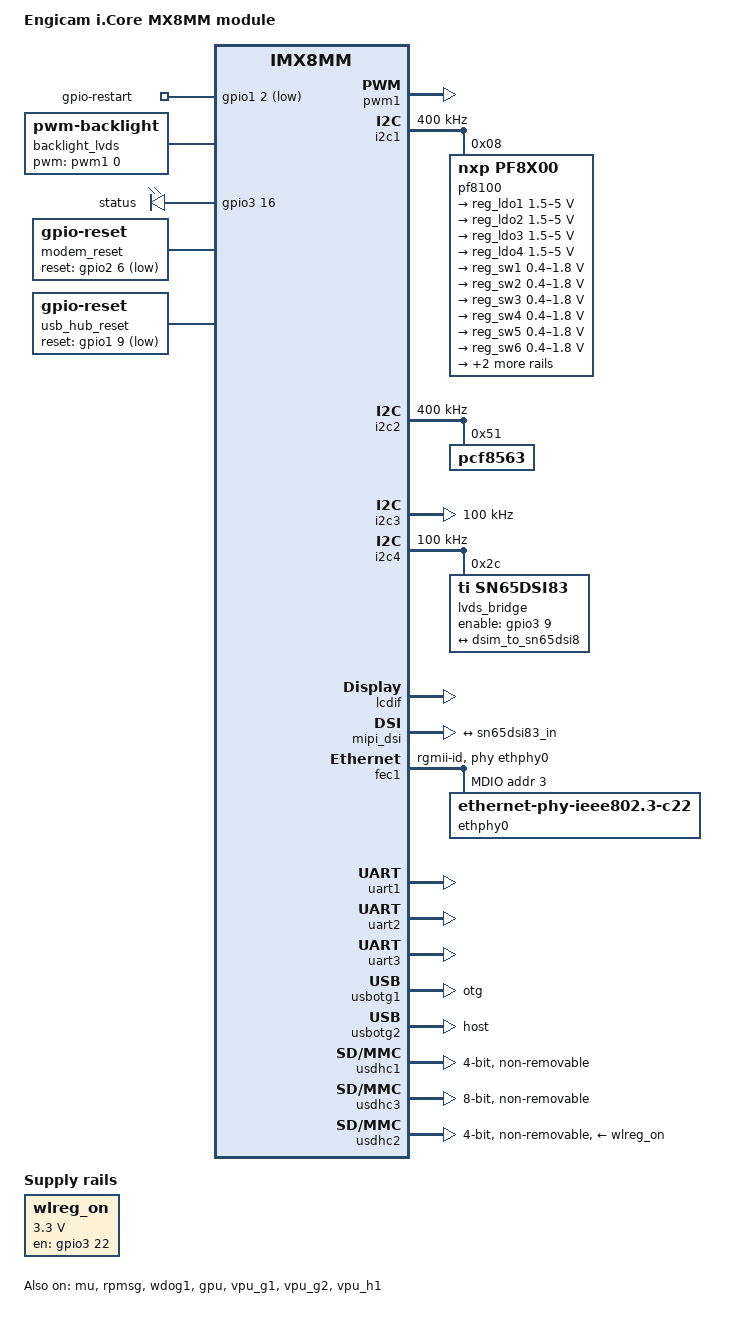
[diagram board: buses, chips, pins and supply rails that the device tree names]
/*
 * Copyright 2019 Engicam srl
 * Copyright 2018 NXP
 *
 * This program is free software; you can redistribute it and/or
 * modify it under the terms of the GNU General Public License
 * as published by the Free Software Foundation; either version 2
 * of the License, or (at your option) any later version.
 *
 * This program is distributed in the hope that it will be useful,
 * but WITHOUT ANY WARRANTY; without even the implied warranty of
 * MERCHANTABILITY or FITNESS FOR A PARTICULAR PURPOSE.  See the
 * GNU General Public License for more details.
 */

/dts-v1/;

#include "../freescale/fsl-imx8mm.dtsi"
#include "icore-imx8mm-sgtl5000.dtsi"

/ {
	model = "Engicam i.Core MX8MM module";
	compatible = "engi,icore-imx8mm", "fsl,imx8mm-evk", "fsl,imx8mm";

	chosen {
		bootargs = "console=ttymxc1,115200 earlycon=ec_imx6q,0x30890000,115200";
		stdout-path = &uart2;
	};
	
	gpio-restart {
        compatible = "gpio-restart";
        gpios = <&gpio1 2 1>;
        priority = <128>;
        active-delay = <100>;
        inactive-delay = <100>;
        wait-delay = <3000>;
    };
	
    backlight_lvds: backlight_lvds {
            compatible = "pwm-backlight";
            pinctrl-names = "default";
            pinctrl-0 = <&pinctrl_pwm1>;
            pwms = <&pwm1 0 1000000>;
            brightness-levels = <0 4 8 16 32 64 128 255>;
            default-brightness-level = <7>;
            status = "okay";
    };

	leds {
		compatible = "gpio-leds";
		pinctrl-names = "default";
		pinctrl-0 = <&pinctrl_gpio_led>;

		status {
			label = "status";
			gpios = <&gpio3 16 0>;
			default-state = "on";
		};
	};

	modem_reset: modem-reset {
		compatible = "gpio-reset";
		reset-gpios = <&gpio2 6 GPIO_ACTIVE_LOW>;
		reset-delay-us = <2000>;
		reset-post-delay-ms = <40>;
		#reset-cells = <0>;
	};

	usb_hub_reset: usb-hub-reset {
		compatible = "gpio-reset";
		reset-gpios = <&gpio1 9 GPIO_ACTIVE_LOW>;
		reset-delay-us = <2000>;
		reset-post-delay-ms = <40>;
		#reset-cells = <0>;
	};

};

&pwm1{
    status = "okay";
};

&clk {
	assigned-clocks = <&clk IMX8MM_AUDIO_PLL1>, <&clk IMX8MM_AUDIO_PLL2>;
	assigned-clock-rates = <786432000>, <722534400>;
};

&iomuxc {
	pinctrl-names = "default";

	icore-imx8mm {
        pinctrl_dsi_lvds_bridge: lvds_bridge_gpio {
            fsl,pins = <
                MX8MM_IOMUXC_NAND_DATA03_GPIO3_IO9	0x19
				MX8MM_IOMUXC_NAND_DATA02_GPIO3_IO8	0x19
            >;
        };

        pinctrl_pwm1: pwm1grp {
            fsl,pins = <
                 MX8MM_IOMUXC_SPDIF_EXT_CLK_PWM1_OUT     0x19
            >;
        };

		pinctrl_reset_hub: pinctrl_reset_hub_grp {
			fsl,pins = <
				MX8MM_IOMUXC_GPIO1_IO09_GPIO1_IO9		0x19
			>;
		};

		pinctrl_csi_pwn: csi_pwn_grp {
			fsl,pins = <
				MX8MM_IOMUXC_SAI2_RXC_GPIO4_IO22		0x19
			>;
		};

		pinctrl_csi_rst: csi_rst_grp {
			fsl,pins = <
				MX8MM_IOMUXC_GPIO1_IO12_GPIO1_IO12		0x19
			>;
		};

		pinctrl_mipi_dsi_en: mipi_dsi_en {
			fsl,pins = <
				MX8MM_IOMUXC_GPIO1_IO08_GPIO1_IO8		0x16
			>;
		};

		pinctrl_i2c2_synaptics_dsx_io: synaptics_dsx_iogrp {
			fsl,pins = <
				MX8MM_IOMUXC_GPIO1_IO09_GPIO1_IO9		0x19	/* Touch int */
			>;
		};

		pinctrl_fec1: fec1grp {
			fsl,pins = <
				MX8MM_IOMUXC_ENET_MDC_ENET1_MDC		0x3
				MX8MM_IOMUXC_ENET_MDIO_ENET1_MDIO	0x3
				MX8MM_IOMUXC_ENET_TD3_ENET1_RGMII_TD3	0x1f
				MX8MM_IOMUXC_ENET_TD2_ENET1_RGMII_TD2	0x1f
				MX8MM_IOMUXC_ENET_TD1_ENET1_RGMII_TD1	0x1f
				MX8MM_IOMUXC_ENET_TD0_ENET1_RGMII_TD0	0x1f
				MX8MM_IOMUXC_ENET_RD3_ENET1_RGMII_RD3	0x91
				MX8MM_IOMUXC_ENET_RD2_ENET1_RGMII_RD2	0x91
				MX8MM_IOMUXC_ENET_RD1_ENET1_RGMII_RD1	0x91
				MX8MM_IOMUXC_ENET_RD0_ENET1_RGMII_RD0	0x91
				MX8MM_IOMUXC_ENET_TXC_ENET1_RGMII_TXC	0x1f
				MX8MM_IOMUXC_ENET_RXC_ENET1_RGMII_RXC	0x91
				MX8MM_IOMUXC_ENET_RX_CTL_ENET1_RGMII_RX_CTL	0x91
				MX8MM_IOMUXC_ENET_TX_CTL_ENET1_RGMII_TX_CTL	0x1f
				MX8MM_IOMUXC_NAND_DATA01_GPIO3_IO7	0x19
			>;
		};

		pinctrl_gpio_led: gpioledgrp {
			fsl,pins = <
				MX8MM_IOMUXC_NAND_READY_B_GPIO3_IO16	0x19
			>;
		};

		pinctrl_i2c1: i2c1grp {
			fsl,pins = <
				MX8MM_IOMUXC_I2C1_SCL_I2C1_SCL			0x400001c3
				MX8MM_IOMUXC_I2C1_SDA_I2C1_SDA			0x400001c3
			>;
		};

		pinctrl_i2c2: i2c2grp {
			fsl,pins = <
				MX8MM_IOMUXC_I2C2_SCL_I2C2_SCL			0x400001c3
				MX8MM_IOMUXC_I2C2_SDA_I2C2_SDA			0x400001c3
			>;
		};

		pinctrl_i2c3: i2c3grp {
			fsl,pins = <
				MX8MM_IOMUXC_I2C3_SCL_I2C3_SCL			0x400001c3
				MX8MM_IOMUXC_I2C3_SDA_I2C3_SDA			0x400001c3
			>;
		};

		pinctrl_i2c4: i2c4grp {
			fsl,pins = <
				MX8MM_IOMUXC_I2C4_SCL_I2C4_SCL			0x400001c3
				MX8MM_IOMUXC_I2C4_SDA_I2C4_SDA			0x400001c3
			>;
		};

		pinctrl_pmic: pmicirq {
			fsl,pins = <
				MX8MM_IOMUXC_GPIO1_IO03_GPIO1_IO3		0x41
			>;
		};

		pinctrl_typec1: typec1grp {
			fsl,pins = <
				MX8MM_IOMUXC_SD1_STROBE_GPIO2_IO11	0x159
			>;
		};

		pinctrl_typec2: typec2grp {
			fsl,pins = <
				MX8MM_IOMUXC_SD2_CD_B_GPIO2_IO12	0x159
			>;
		};

		pinctrl_sai1: sai1grp {
			fsl,pins = <
				MX8MM_IOMUXC_SAI1_MCLK_SAI1_MCLK	0xd6
				MX8MM_IOMUXC_SAI1_TXFS_SAI1_TX_SYNC	0xd6
				MX8MM_IOMUXC_SAI1_RXD7_SAI1_TX_SYNC	0xd6
				MX8MM_IOMUXC_SAI1_TXC_SAI1_TX_BCLK	0xd6
				MX8MM_IOMUXC_SAI1_TXD0_SAI1_TX_DATA0	0xd6
				MX8MM_IOMUXC_SAI1_TXD1_SAI1_TX_DATA1	0xd6
				MX8MM_IOMUXC_SAI1_TXD2_SAI1_TX_DATA2	0xd6
				MX8MM_IOMUXC_SAI1_TXD3_SAI1_TX_DATA3	0xd6
				MX8MM_IOMUXC_SAI1_TXD4_SAI1_TX_DATA4	0xd6
				MX8MM_IOMUXC_SAI1_TXD5_SAI1_TX_DATA5	0xd6
				MX8MM_IOMUXC_SAI1_TXD6_SAI1_TX_DATA6	0xd6
				MX8MM_IOMUXC_SAI1_TXD7_SAI1_TX_DATA7	0xd6
			>;
		};

		pinctrl_sai1_dsd: sai1grp_dsd {
			fsl,pins = <
				MX8MM_IOMUXC_SAI1_MCLK_SAI1_MCLK	0xd6
				MX8MM_IOMUXC_SAI1_TXFS_SAI1_TX_SYNC	0xd6
				MX8MM_IOMUXC_SAI1_RXD7_SAI1_TX_DATA4	0xd6
				MX8MM_IOMUXC_SAI1_TXC_SAI1_TX_BCLK	0xd6
				MX8MM_IOMUXC_SAI1_TXD0_SAI1_TX_DATA0	0xd6
				MX8MM_IOMUXC_SAI1_TXD1_SAI1_TX_DATA1	0xd6
				MX8MM_IOMUXC_SAI1_TXD2_SAI1_TX_DATA2	0xd6
				MX8MM_IOMUXC_SAI1_TXD3_SAI1_TX_DATA3	0xd6
				MX8MM_IOMUXC_SAI1_TXD4_SAI1_TX_DATA4	0xd6
				MX8MM_IOMUXC_SAI1_TXD5_SAI1_TX_DATA5	0xd6
				MX8MM_IOMUXC_SAI1_TXD6_SAI1_TX_DATA6	0xd6
				MX8MM_IOMUXC_SAI1_TXD7_SAI1_TX_DATA7	0xd6
			>;
		};

		pinctrl_sai3: sai3grp {
			fsl,pins = <
				MX8MM_IOMUXC_SAI3_TXFS_SAI3_TX_SYNC     0xd6
				MX8MM_IOMUXC_SAI3_TXC_SAI3_TX_BCLK      0xd6
				MX8MM_IOMUXC_SAI3_MCLK_SAI3_MCLK        0xd6
				MX8MM_IOMUXC_SAI3_TXD_SAI3_TX_DATA0     0xd6
				MX8MM_IOMUXC_SAI3_RXD_SAI3_RX_DATA0		0xd6
			>;
		};

		pinctrl_spdif1: spdif1grp {
			fsl,pins = <
				MX8MM_IOMUXC_SPDIF_TX_SPDIF1_OUT	0xd6
				MX8MM_IOMUXC_SPDIF_RX_SPDIF1_IN		0xd6
			>;
		};

		pinctrl_uart1: uart1grp {
			fsl,pins = <
				MX8MM_IOMUXC_UART1_RXD_UART1_DCE_RX	0x140
				MX8MM_IOMUXC_UART1_TXD_UART1_DCE_TX	0x140
				MX8MM_IOMUXC_GPIO1_IO10_GPIO1_IO10  0x140
			>;
		};

		pinctrl_uart2: uart2grp {
			fsl,pins = <
				MX8MM_IOMUXC_UART2_RXD_UART2_DCE_RX	0x140
				MX8MM_IOMUXC_UART2_TXD_UART2_DCE_TX	0x140
			>;
		};

		pinctrl_uart3: uart3grp {
			fsl,pins = <
				MX8MM_IOMUXC_UART3_RXD_UART3_DCE_RX		0x140
				MX8MM_IOMUXC_UART3_TXD_UART3_DCE_TX		0x140
				MX8MM_IOMUXC_ECSPI1_MISO_GPIO5_IO8      0x140
			>;
		};

		pinctrl_uart4: uart4grp {
			fsl,pins = <
				MX8MM_IOMUXC_UART4_RXD_UART4_DCE_RX	0x140
				MX8MM_IOMUXC_UART4_TXD_UART4_DCE_TX	0x140
			>;
		};

		pinctrl_usdhc1_gpio: usdhc1grpgpio {
			fsl,pins = <
				MX8MM_IOMUXC_SD1_RESET_B_GPIO2_IO10	0x41
			>;
		};

		pinctrl_usdhc1: usdhc1grp {
			fsl,pins = <
				MX8MM_IOMUXC_SD1_CLK_USDHC1_CLK		0x190
				MX8MM_IOMUXC_SD1_CMD_USDHC1_CMD		0x1d0
				MX8MM_IOMUXC_SD1_DATA0_USDHC1_DATA0	0x1d0
				MX8MM_IOMUXC_SD1_DATA1_USDHC1_DATA1	0x1d0
				MX8MM_IOMUXC_SD1_DATA2_USDHC1_DATA2	0x1d0
				MX8MM_IOMUXC_SD1_DATA3_USDHC1_DATA3	0x1d0
			>;
		};

		pinctrl_usdhc1_100mhz: usdhc1grp100mhz {
			fsl,pins = <
				MX8MM_IOMUXC_SD1_CLK_USDHC1_CLK		0x194
				MX8MM_IOMUXC_SD1_CMD_USDHC1_CMD		0x1d4
				MX8MM_IOMUXC_SD1_DATA0_USDHC1_DATA0	0x1d4
				MX8MM_IOMUXC_SD1_DATA1_USDHC1_DATA1	0x1d4
				MX8MM_IOMUXC_SD1_DATA2_USDHC1_DATA2	0x1d4
				MX8MM_IOMUXC_SD1_DATA3_USDHC1_DATA3	0x1d4
			>;
		};

		pinctrl_usdhc1_200mhz: usdhc1grp200mhz {
			fsl,pins = <
				MX8MM_IOMUXC_SD1_CLK_USDHC1_CLK		0x196
				MX8MM_IOMUXC_SD1_CMD_USDHC1_CMD		0x1d6
				MX8MM_IOMUXC_SD1_DATA0_USDHC1_DATA0	0x1d6
				MX8MM_IOMUXC_SD1_DATA1_USDHC1_DATA1	0x1d6
				MX8MM_IOMUXC_SD1_DATA2_USDHC1_DATA2	0x1d6
				MX8MM_IOMUXC_SD1_DATA3_USDHC1_DATA3	0x1d6
			>;
		};

		pinctrl_usdhc2: usdhc2grp {
			fsl,pins = <
				MX8MM_IOMUXC_SD2_CLK_USDHC2_CLK		0x194
				MX8MM_IOMUXC_SD2_CMD_USDHC2_CMD		0x1d4
				MX8MM_IOMUXC_SD2_DATA0_USDHC2_DATA0	0x1d4
				MX8MM_IOMUXC_SD2_DATA1_USDHC2_DATA1	0x1d4
				MX8MM_IOMUXC_SD2_DATA2_USDHC2_DATA2	0x1d4
				MX8MM_IOMUXC_SD2_DATA3_USDHC2_DATA3	0x1d4
			>;
		};

		pinctrl_usdhc3: usdhc3grp {
			fsl,pins = <
				MX8MM_IOMUXC_NAND_WE_B_USDHC3_CLK		0x190
				MX8MM_IOMUXC_NAND_WP_B_USDHC3_CMD		0x1d0
				MX8MM_IOMUXC_NAND_DATA04_USDHC3_DATA0		0x1d0
				MX8MM_IOMUXC_NAND_DATA05_USDHC3_DATA1		0x1d0
				MX8MM_IOMUXC_NAND_DATA06_USDHC3_DATA2		0x1d0
				MX8MM_IOMUXC_NAND_DATA07_USDHC3_DATA3		0x1d0
				MX8MM_IOMUXC_NAND_RE_B_USDHC3_DATA4		0x1d0
				MX8MM_IOMUXC_NAND_CE2_B_USDHC3_DATA5		0x1d0
				MX8MM_IOMUXC_NAND_CE3_B_USDHC3_DATA6		0x1d0
				MX8MM_IOMUXC_NAND_CLE_USDHC3_DATA7		0x1d0
				MX8MM_IOMUXC_NAND_CE1_B_USDHC3_STROBE 		0x190
			>;
		};

		pinctrl_usdhc3_100mhz: usdhc3grp100mhz {
			fsl,pins = <
				MX8MM_IOMUXC_NAND_WE_B_USDHC3_CLK		0x194
				MX8MM_IOMUXC_NAND_WP_B_USDHC3_CMD		0x1d4
				MX8MM_IOMUXC_NAND_DATA04_USDHC3_DATA0		0x1d4
				MX8MM_IOMUXC_NAND_DATA05_USDHC3_DATA1		0x1d4
				MX8MM_IOMUXC_NAND_DATA06_USDHC3_DATA2		0x1d4
				MX8MM_IOMUXC_NAND_DATA07_USDHC3_DATA3		0x1d4
				MX8MM_IOMUXC_NAND_RE_B_USDHC3_DATA4		0x1d4
				MX8MM_IOMUXC_NAND_CE2_B_USDHC3_DATA5		0x1d4
				MX8MM_IOMUXC_NAND_CE3_B_USDHC3_DATA6		0x1d4
				MX8MM_IOMUXC_NAND_CLE_USDHC3_DATA7		0x1d4
				MX8MM_IOMUXC_NAND_CE1_B_USDHC3_STROBE 		0x194
			>;
		};

		pinctrl_usdhc3_200mhz: usdhc3grp200mhz {
			fsl,pins = <
				MX8MM_IOMUXC_NAND_WE_B_USDHC3_CLK		0x196
				MX8MM_IOMUXC_NAND_WP_B_USDHC3_CMD		0x1d6
				MX8MM_IOMUXC_NAND_DATA04_USDHC3_DATA0		0x1d6
				MX8MM_IOMUXC_NAND_DATA05_USDHC3_DATA1		0x1d6
				MX8MM_IOMUXC_NAND_DATA06_USDHC3_DATA2		0x1d6
				MX8MM_IOMUXC_NAND_DATA07_USDHC3_DATA3		0x1d6
				MX8MM_IOMUXC_NAND_RE_B_USDHC3_DATA4		0x1d6
				MX8MM_IOMUXC_NAND_CE2_B_USDHC3_DATA5		0x1d6
				MX8MM_IOMUXC_NAND_CE3_B_USDHC3_DATA6		0x1d6
				MX8MM_IOMUXC_NAND_CLE_USDHC3_DATA7		0x1d6
				MX8MM_IOMUXC_NAND_CE1_B_USDHC3_STROBE 		0x196
			>;
		};

		edt_ft5x06_pins: edt-ft5x06-pins-grp{
            fsl,pins = <
				MX8MM_IOMUXC_SAI5_RXFS_GPIO3_IO19   		0xc6
				MX8MM_IOMUXC_GPIO1_IO08_GPIO1_IO8		0x19
            >;	
		};
		
		pinctrl_wdog: wdoggrp {
			fsl,pins = <
				MX8MM_IOMUXC_GPIO1_IO02_GPIO1_IO2		0x19
			>;
		};
	};
};

&i2c1 {
	clock-frequency = <400000>;
	pinctrl-names = "default";
	pinctrl-0 = <&pinctrl_i2c1>;
	status = "okay";

	pf8100@08 {
		compatible = "nxp,pf8x00";
		reg = <0x08>;

		regulators {
			reg_ldo1: ldo1 {
				regulator-always-on;
				regulator-boot-on;
				regulator-max-microvolt = <5000000>;
				regulator-min-microvolt = <1500000>;
			};

			reg_ldo2: ldo2 {
				regulator-always-on;
				regulator-boot-on;
				regulator-max-microvolt = <5000000>;
				regulator-min-microvolt = <1500000>;
#if 0
				/* vselect low is 3.3V, high is 1.8V */
				vselect-en;
#endif
			};

			reg_ldo3: ldo3 {
				regulator-always-on;
				regulator-boot-on;
				regulator-max-microvolt = <5000000>;
				regulator-min-microvolt = <1500000>;
			};

			reg_ldo4: ldo4 {
				regulator-always-on;
				regulator-boot-on;
				regulator-max-microvolt = <5000000>;
				regulator-min-microvolt = <1500000>;
			};

			reg_sw1: sw1 {
				phase = <0>;
				ilim-ma = <4500>;
				regulator-always-on;
				regulator-boot-on;
				regulator-max-microvolt = <1800000>;
				regulator-min-microvolt =  <400000>;
			};

			reg_sw2: sw2 {
				regulator-always-on;
				regulator-boot-on;
				regulator-max-microvolt = <1800000>;
				regulator-min-microvolt =  <400000>;
			};

			reg_sw3: sw3 {
				regulator-always-on;
				regulator-boot-on;
				regulator-max-microvolt = <1800000>;
				regulator-min-microvolt =  <400000>;
			};

			reg_sw4: sw4 {
				regulator-always-on;
				regulator-boot-on;
				regulator-max-microvolt = <1800000>;
				regulator-min-microvolt =  <400000>;
				dual-phase;
			};

			reg_sw5: sw5 {
				regulator-always-on;
				regulator-boot-on;
				regulator-max-microvolt = <1800000>;
				regulator-min-microvolt =  <400000>;
			};

			reg_sw6: sw6 {
				regulator-always-on;
				regulator-boot-on;
				regulator-max-microvolt = <1800000>;
				regulator-min-microvolt =  <400000>;
			};

			reg_sw7: sw7 {
				regulator-always-on;
				regulator-boot-on;
				regulator-max-microvolt = <4100000>;
				regulator-min-microvolt = <1000000>;
			};

			reg_vsnvs: vsnvs {
				regulator-always-on;
				regulator-boot-on;
				regulator-max-microvolt = <3300000>;
				regulator-min-microvolt = <1800000>;
			};
		};
	};
};

&i2c2 {
	clock-frequency = <400000>;
	pinctrl-names = "default";
	pinctrl-0 = <&pinctrl_i2c2>;
	status = "okay";

	pcf8563: rtc@51 {
		compatible = "pcf8563";
		reg = <0x51>;
	};
};


&i2c3 {
	clock-frequency = <100000>;
	pinctrl-names = "default";
	pinctrl-0 = <&pinctrl_i2c3>;
	status = "okay";


};

&i2c4 {
	clock-frequency = <100000>;
	pinctrl-names = "default";
	pinctrl-0 = <&pinctrl_i2c4>;
	status = "okay";

    lvds_bridge: sn65dsi83@2c {
        compatible = "ti,sn65dsi83";
        reg = <0x2c>;
        ti,dsi-lanes = <2>;
        ti,lvds-format = <2>;
        ti,lvds-bpp = <24>;
        ti,width-mm = <149>;
        ti,height-mm = <93>;
		enable-gpios = <&gpio3 9  GPIO_ACTIVE_HIGH>;
        pinctrl-names = "default";
        pinctrl-0 = <&pinctrl_dsi_lvds_bridge>;
        status = "okay";

		display-timings {
                native-mode = <&timing1>;
                timing1: hsd100pxn1 {
                        clock-frequency = <60000000>;
                        hactive = <1280>;
                        vactive = <800>;
                        hback-porch = <40>;
                        hfront-porch = <40>;
                        vback-porch = <10>;
                        vfront-porch = <3>;
                        hsync-len = <80>;
                        vsync-len = <10>;
                };
        };

        port {
            sn65dsi83_in: endpoint {
                remote-endpoint = <&dsim_to_sn65dsi8>;
            };
        };
    };

};

&lcdif {
	max-res = <1280>, <800>;
	status = "okay";
};

&mipi_dsi {
	status = "okay";

	port@1 {
		dsim_to_sn65dsi8: endpoint {
			remote-endpoint = <&sn65dsi83_in>;
		};
	};
};

&mu {
	status = "okay";
};

&rpmsg{
	/*
	 * 64K for one rpmsg instance:
	 * --0xb8000000~0xb800ffff: pingpong
	 */
	vdev-nums = <1>;
	reg = <0x0 0xb8000000 0x0 0x10000>;
	status = "okay";
};


&fec1 {
	pinctrl-names = "default";
	pinctrl-0 = <&pinctrl_fec1>;
	phy-mode = "rgmii-id";
	phy-handle = <&ethphy0>;
//	fsl,magic-packet;
	status = "okay";

	mdio {
		#address-cells = <1>;
		#size-cells = <0>;

		ethphy0: ethernet-phy@0 {
            reg = <3>;
            compatible = "ethernet-phy-ieee802.3-c22";
            device_type = "ethernet-phy";
            rxc-skew-ps = <3000>;
            rxdv-skew-ps = <0>;
            txc-skew-ps = <3000>;
            txen-skew-ps = <0>;
		};
	};
};

&uart1 { /* RS232 */
	pinctrl-names = "default";
	pinctrl-0 = <&pinctrl_uart1>;
    status = "okay";
};

&uart2 { /* console */
	pinctrl-names = "default";
	pinctrl-0 = <&pinctrl_uart2>;
	status = "okay";
};

&uart3 { /*RS485*/
	pinctrl-names = "default";
	pinctrl-0 = <&pinctrl_uart3>;
    control-gpios =  <&gpio5 8 GPIO_ACTIVE_HIGH>;
    uart-has-rs485-half-duplex;	
    off_levels = <0>;
    rs485_levels = <0x0>;
    rs485-mode = <1>;
    rs485_txen_levels = <1>;
    rs485_txen_mask = <1>;
    status = "okay";
};

&usbotg1 {
	dr_mode = "otg";
//	extcon = <0>, <&typec1_ptn5110>;
	picophy,pre-emp-curr-control = <3>;
	picophy,dc-vol-level-adjust = <7>;
	status = "okay";
};

&usbotg2 {
	dr_mode = "host";
//	extcon = <0>, <&typec2_ptn5110>;
	picophy,pre-emp-curr-control = <3>;
	picophy,dc-vol-level-adjust = <7>;
	status = "okay";
};

&usdhc1 {
	pinctrl-names = "default", "state_100mhz", "state_200mhz";
	pinctrl-0 = <&pinctrl_usdhc1>, <&pinctrl_usdhc1_gpio>;
	pinctrl-1 = <&pinctrl_usdhc1_100mhz>, <&pinctrl_usdhc1_gpio>;
	pinctrl-2 = <&pinctrl_usdhc1_200mhz>, <&pinctrl_usdhc1_gpio>;
	bus-width = <4>;
	pm-ignore-notify;
	keep-power-in-suspend;
	non-removable;
	status = "okay";
};


&usdhc3 {
	pinctrl-names = "default", "state_100mhz", "state_200mhz";
	pinctrl-0 = <&pinctrl_usdhc3>;
	pinctrl-1 = <&pinctrl_usdhc3_100mhz>;
	pinctrl-2 = <&pinctrl_usdhc3_200mhz>;
	bus-width = <8>;
	non-removable;
	status = "okay";
};

&wdog1 {
	pinctrl-names = "default";
	pinctrl-0 = <&pinctrl_wdog>;
	status = "okay";
};

&A53_0 {
	arm-supply = <&reg_sw4>;
};

&gpu {
	status = "okay";
};

&vpu_g1 {
	status = "okay";
};

&vpu_g2 {
	status = "okay";
};

&vpu_h1 {
	status = "okay";
};


/ {
    regulators {
    wlreg_on: fixedregulator@100 {
        compatible = "regulator-fixed";
        regulator-name = "wlreg_on";
        regulator-min-microvolt = <3300000>;
        regulator-max-microvolt = <3300000>;
        gpio = <&gpio3 22 1>;
        enable-active-high;
        };
    };
};

&usdhc2 {
	pinctrl-names = "default";
	pinctrl-0 = <&pinctrl_usdhc2>, <&pinctrl_laird>;
	bus-width = <4>;	
    no-1-8-v;
    non-removable;
    vmmc-supply = <&wlreg_on>;
    wifi-host;
    broken-cd;
    status = "okay";
};


&iomuxc {
    	icore-imx8mm {
        pinctrl_laird: lairdgrp {
            fsl,pins = <
                MX8MM_IOMUXC_SAI5_RXD2_GPIO3_IO23        0x1C0
				MX8MM_IOMUXC_SAI5_RXD1_GPIO3_IO22        0x1C0
            >;
        };
    };
};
